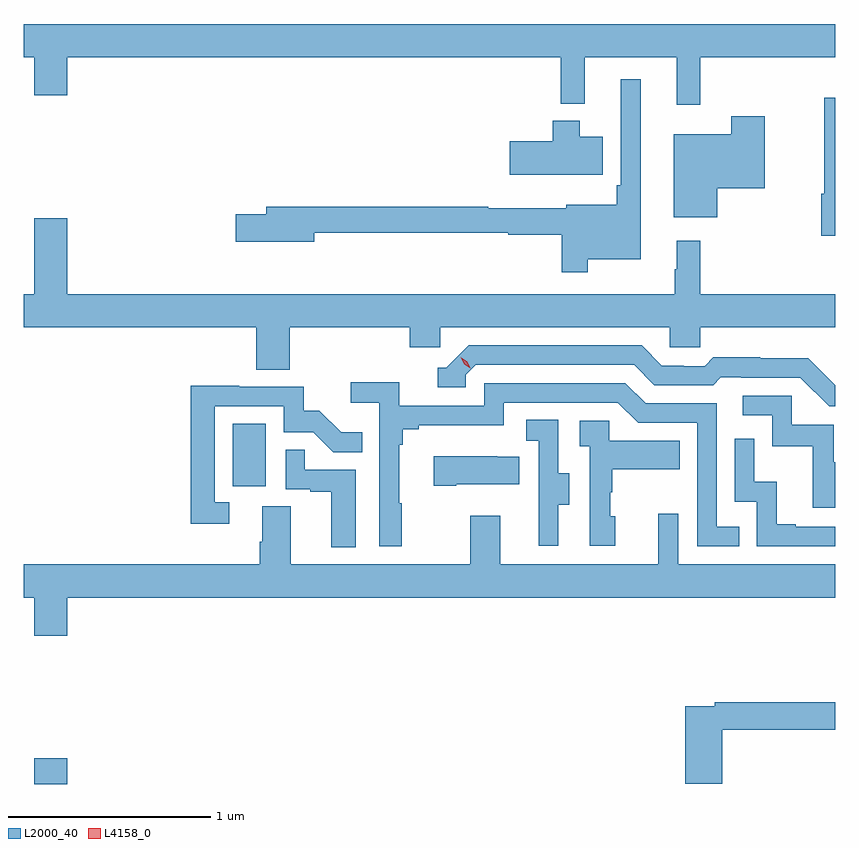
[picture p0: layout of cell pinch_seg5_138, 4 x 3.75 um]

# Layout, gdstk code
import gdstk
lib = gdstk.Library(unit=1e-6, precision=1e-09)
def R(c, l, rs):  # rectangles x0, y0, x1, y1
    for r in rs: c.add(gdstk.rectangle(r[:2], r[2:], *l))
def P(c, l, *ps):  # polygons
    for p in ps: c.add(gdstk.Polygon(p, *l))
L2000_40 = (2000, 40)
L4158_0 = (4158, 0)

pinch_seg5_138 = lib.new_cell('pinch_seg5_138')
R(pinch_seg5_138, L2000_40, [(1052.12,885.145,1052.284,885.271), (1053.098,886.614,1053.262,886.921)])
P(pinch_seg5_138, L2000_40, [(1055.405,888.728),(1056.069,888.728),(1056.069,888.892),(1052.069,888.892),(1052.069,888.728),(1052.12,888.728),(1052.12,888.54),(1052.284,888.54),(1052.284,888.728),(1054.717,888.728),(1054.717,888.5),(1054.835,888.5),(1054.835,888.728),(1055.288,888.728),(1055.288,888.495),(1055.405,888.495)],
  [(1054.849,887.732),(1055.11,887.732),(1055.11,888.619),(1055.013,888.619),(1055.013,888.097),(1054.993,888.097),(1054.993,888.001),(1054.743,888.001),(1054.743,887.983),(1054.358,887.983),(1054.358,887.99),(1053.263,887.99),(1053.263,887.954),(1053.114,887.954),(1053.114,887.819),(1053.502,887.819),(1053.502,887.862),(1054.458,887.862),(1054.458,887.854),(1054.72,887.854),(1054.72,887.667),(1054.849,887.667)],
  [(1056.069,888.529),(1056.016,888.529),(1056.016,888.056),(1056.001,888.056),(1056.001,887.848),(1056.069,887.848)],
  [(1055.488,888.083),(1055.722,888.083),(1055.722,888.436),(1055.557,888.436),(1055.557,888.349),(1055.273,888.349),(1055.273,887.939),(1055.488,887.939)],
  [(1054.924,888.337),(1054.81,888.337),(1054.81,888.415),(1054.676,888.415),(1054.676,888.315),(1054.464,888.315),(1054.464,888.149),(1054.924,888.149)],
  [(1053.38,887.396),(1053.971,887.396),(1053.971,887.298),(1054.122,887.298),(1054.122,887.396),(1055.253,887.396),(1055.253,887.298),(1055.403,887.298),(1055.403,887.396),(1056.069,887.396),(1056.069,887.56),(1055.405,887.56),(1055.405,887.824),(1055.288,887.824),(1055.288,887.684),(1055.277,887.684),(1055.277,887.56),(1052.284,887.56),(1052.284,887.935),(1052.12,887.935),(1052.12,887.56),(1052.069,887.56),(1052.069,887.396),(1053.215,887.396),(1053.215,887.188),(1053.38,887.188)],
  [(1056.069,887.112),(1055.936,887.245),(1055.7,887.245),(1055.7,887.248),(1055.467,887.248),(1055.425,887.205),(1055.322,887.205),(1055.322,887.208),(1055.215,887.208),(1055.116,887.307),(1054.263,887.307),(1054.152,887.196),(1054.109,887.196),(1054.109,887.1),(1054.248,887.1),(1054.248,887.163),(1054.296,887.211),(1055.079,887.211),(1055.178,887.112),(1055.467,887.112),(1055.506,887.151),(1055.605,887.151),(1055.605,887.148),(1055.898,887.148),(1056.039,887.007),(1056.069,887.007)],
  [(1053.931,886.529),(1053.919,886.529),(1053.919,886.817),(1053.938,886.817),(1053.938,886.894),(1054.015,886.894),(1054.015,886.913),(1054.434,886.913),(1054.434,887.025),(1054.998,887.025),(1055.097,886.926),(1055.388,886.926),(1055.388,886.317),(1055.597,886.317),(1055.597,886.413),(1055.484,886.413),(1055.484,887.022),(1055.134,887.022),(1055.035,887.121),(1054.338,887.121),(1054.338,887.01),(1053.92,887.01),(1053.92,887.126),(1053.681,887.126),(1053.681,887.024),(1053.822,887.024),(1053.822,886.317),(1053.931,886.317)],
  [(1053.082,886.533),(1053.009,886.533),(1053.009,887.007),(1053.351,887.007),(1053.351,886.878),(1053.496,886.878),(1053.594,886.78),(1053.737,886.78),(1053.737,886.879),(1053.633,886.879),(1053.526,886.986),(1053.45,886.986),(1053.45,887.103),(1053.131,887.103),(1053.131,887.108),(1052.893,887.108),(1052.893,886.428),(1053.082,886.428)],
  [(1056.069,886.731),(1056.061,886.731),(1056.061,886.917),(1055.856,886.917),(1055.856,887.058),(1055.613,887.058),(1055.613,886.962),(1055.76,886.962),(1055.76,886.809),(1055.959,886.809),(1055.959,886.506),(1056.069,886.506)],
  [(1054.705,886.522),(1054.759,886.522),(1054.759,886.677),(1054.704,886.677),(1054.704,886.94),(1054.545,886.94),(1054.545,886.837),(1054.608,886.837),(1054.608,886.533),(1054.607,886.533),(1054.607,886.32),(1054.705,886.32)],
  [(1054.984,886.464),(1054.959,886.464),(1054.959,886.583),(1054.969,886.583),(1054.969,886.697),(1055.303,886.697),(1055.303,886.837),(1054.956,886.837),(1054.956,886.935),(1054.809,886.935),(1054.809,886.811),(1054.86,886.811),(1054.86,886.32),(1054.984,886.32)],
  [(1056.069,886.413),(1055.875,886.413),(1055.875,886.426),(1055.78,886.426),(1055.78,886.634),(1055.67,886.634),(1055.67,886.846),(1055.574,886.846),(1055.574,886.536),(1055.682,886.536),(1055.682,886.317),(1056.069,886.317)],
  [(1053.706,886.695),(1053.455,886.695),(1053.455,886.793),(1053.36,886.793),(1053.36,886.599),(1053.481,886.599),(1053.481,886.587),(1053.584,886.587),(1053.584,886.313),(1053.706,886.313)],
  [(1054.201,886.622),(1054.511,886.622),(1054.511,886.759),(1054.403,886.759),(1054.403,886.762),(1054.089,886.762),(1054.089,886.615),(1054.201,886.615)],
  [(1055.198,886.477),(1055.198,886.228),(1054.417,886.228),(1054.417,886.468),(1054.27,886.468),(1054.27,886.228),(1053.385,886.228),(1053.385,886.514),(1053.245,886.514),(1053.245,886.34),(1053.233,886.34),(1053.233,886.228),(1052.069,886.228),(1052.069,886.064),(1052.12,886.064),(1052.12,885.876),(1052.284,885.876),(1052.284,886.064),(1056.069,886.064),(1056.069,886.228),(1055.295,886.228),(1055.295,886.477)],
  [(1055.513,885.412),(1056.069,885.412),(1056.069,885.548),(1055.476,885.548),(1055.476,885.528),(1055.33,885.528),(1055.33,885.147),(1055.513,885.147)])
P(pinch_seg5_138, L4158_0, [(1054.27,887.195),(1054.24,887.215),(1054.223,887.248),(1054.223,887.248),(1054.224,887.248),(1054.254,887.228),(1054.271,887.196),(1054.271,887.195)])

lib.write_gds('pinch_seg5_138.gds')
